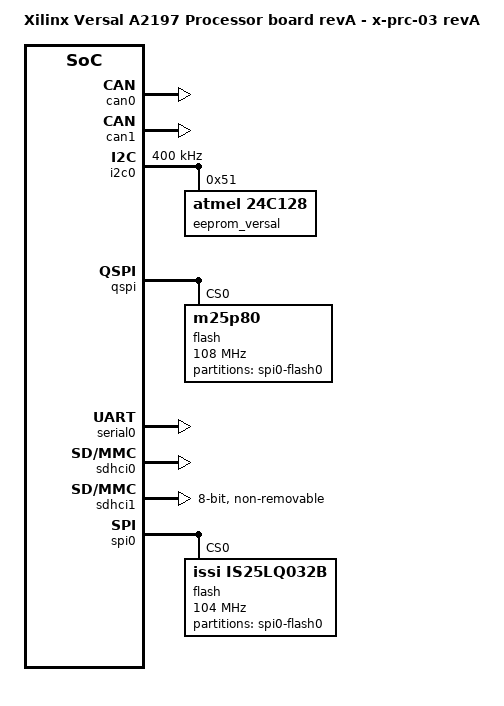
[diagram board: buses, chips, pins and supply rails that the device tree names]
// SPDX-License-Identifier: GPL-2.0
/*
 * dts file for Xilinx Versal X-PRC-03 revA (SE3)
 *
 * (C) Copyright 2019, Xilinx, Inc.
 *
 * Michal Simek <michal.simek@xilinx.com>
 */

#include "versal-vc-p-a2197-00-revA.dts"

/ {
	compatible = "xlnx,versal-vc-p-a2197-00-revA-x-prc-03-revA",
		     "xlnx,versal-vc-p-a2197-00-revA",
		     "xlnx,versal-vc-p-a2197-00",
		     "xlnx,versal-vc-p-a2197", "xlnx,versal";
	model = "Xilinx Versal A2197 Processor board revA - x-prc-03 revA";

	chosen {
		bootargs = "console=ttyAMA0 earlycon=pl011,mmio32,0xFF000000,115200n8 clk_ignore_unused";
		stdout-path = "serial0:115200";
	};

	aliases {
		can0 = &can0;
		can1 = &can1;
		i2c0 = &i2c1;
		mmc0 = &sdhci0;
		mmc1 = &sdhci1;
		serial0 = &serial0;
		spi0 = &qspi;
		spi1 = &spi0;
	};
};

/* SMAP via cc108 */

&can0 {
	status = "okay";
};

&can1 {
	status = "okay";
};

&i2c0 {
	status = "okay";
	clock-frequency = <400000>;
	/* Must be enabled via J90/J91 */
	eeprom_versal: eeprom@51 { /* U2 - 128kb RM24C128DS */
		compatible = "atmel,24c128";
		reg = <0x51>;
	};
};

&qspi {
	status = "okay"; /* u7 */
	num-cs = <0x1>;
	is-dual = <0x1>;
	spi-rx-bus-width = <4>;
	spi-tx-bus-width = <1>;

	flash@0 {
		#address-cells = <1>;
		#size-cells = <1>;
		compatible = "m25p80", "jedec,spi-nor"; /* 64Mb */
		reg = <0>;
		spi-tx-bus-width = <4>;
		spi-rx-bus-width = <4>;
		spi-max-frequency = <108000000>;
		partition@0 {
			label = "spi0-flash0";
			reg = <0x0 0x800000>;
		};
	};
};

&serial0 {
	status = "okay";
};

&sdhci0 { /* J99 MIO28 - MIO33 */
	status = "okay";
	xlnx,mio-bank = <1>; /* FIXME */
};

&sdhci1 { /* EMMC IS21ES08G 200MHz MIO40 - MIO49 */
	status = "okay";
	non-removable;
	disable-wp;
	bus-width = <8>;
	xlnx,mio-bank = <0>; /* FIXME */
};

&spi0 {
	status = "okay";
	num-cs = <1>;

	flash@0 { /* U6 - IS25LQ032B - 16Mb */
		#address-cells = <1>;
		#size-cells = <1>;
		compatible = "issi,is25lq032b", "m25p80", "jedec,spi-nor";
		spi-max-frequency = <104000000>;
		reg = <0>;

		partition@0 {
			label = "spi0-flash0";
			reg = <0 0x200000>;
		};
	};
};
